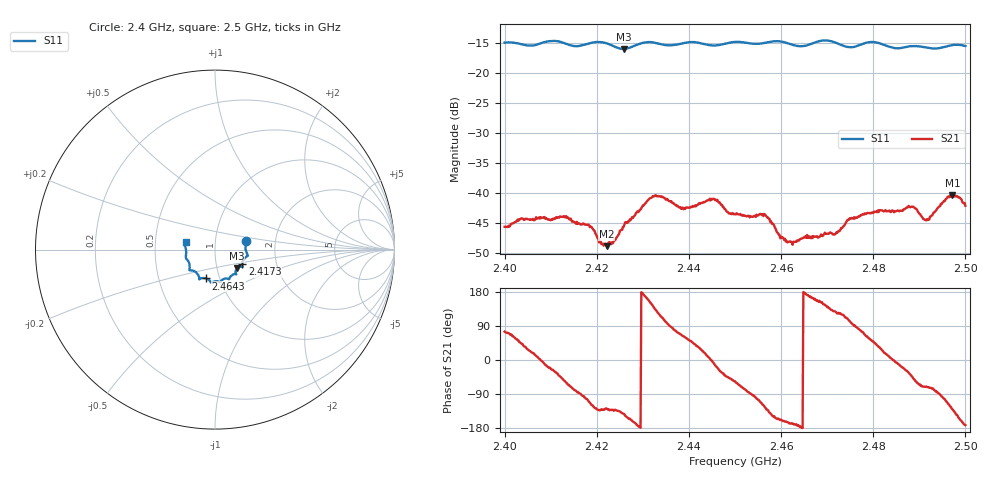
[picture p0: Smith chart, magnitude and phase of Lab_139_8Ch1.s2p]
# Hz S RI R 50
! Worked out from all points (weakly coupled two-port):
!   601 points, 2.4 GHz to 2.5 GHz, reference 50 ohm
!   highest |S21| = -40.37 dB at 2.4972 GHz (marker M1); lowest = -48.9 dB at 2.4222 GHz (marker M2)
!   lowest |S11| = -15.9 dB at 2.4258 GHz (marker M3), VSWR 1.38, Z = 62.3 - j13.3 ohm
!   |S11| at or under -10 dB: start of sweep to end of sweep
!   S12 and S22 are empty: the file has one direction only
!   S11 on the Smith chart (normalised r, x): 2.4 GHz: 1.41, +0.14; 2.4173 GHz: 1.34, -0.23; 2.4643 GHz: 0.86, -0.28; 2.5 GHz: 0.72, +0.06
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2.4e9  0.1737 0.0491  0.00135 0.00503  0 0  0 0
2.403333e9  0.1732 0.0312  0.00413 0.00436  0 0  0 0
2.4125e9  0.1771 -0.038  0.00413 -0.00476  0 0  0 0
2.416667e9  0.1533 -0.0748  -0.000192 -0.00544  0 0  0 0
2.417333e9  0.1524 -0.0823  -0.000836 -0.00538  0 0  0 0
2.422167e9  0.1507 -0.0948  -0.00224 -0.0028  0 0  0 0
2.425833e9  0.1215 -0.1038  -0.00411 -0.00317  0 0  0 0
2.433333e9  0.1129 -0.1365  -0.00519 0.00778  0 0  0 0
2.438833e9  0.081 -0.1589  0.00336 0.00648  0 0  0 0
2.445667e9  0.0499 -0.1632  0.00847 -0.00199  0 0  0 0
2.45e9  0.0294 -0.1806  0.00369 -0.00551  0 0  0 0
2.456167e9  -0.00738 -0.1784  -0.00311 -0.00559  0 0  0 0
2.461e9  -0.026 -0.1784  -0.00375 -0.00117  0 0  0 0
2.464333e9  -0.05 -0.1606  -0.00412 -0.000142  0 0  0 0
2.466667e9  -0.076 -0.1596  -0.00417 0.00113  0 0  0 0
2.471667e9  -0.0872 -0.1589  -0.00278 0.00353  0 0  0 0
2.477833e9  -0.1335 -0.1157  0.00197 0.00636  0 0  0 0
2.483333e9  -0.1409 -0.0901  0.00697 0.00128  0 0  0 0
2.488167e9  -0.1609 -0.0496  0.00587 -0.00489  0 0  0 0
2.491667e9  -0.1613 -0.0284  0.00199 -0.00569  0 0  0 0
2.497167e9  -0.1697 0.0272  -0.00609 -0.0074  0 0  0 0
2.5e9  -0.1636 0.0417  -0.00773 -0.00108  0 0  0 0
